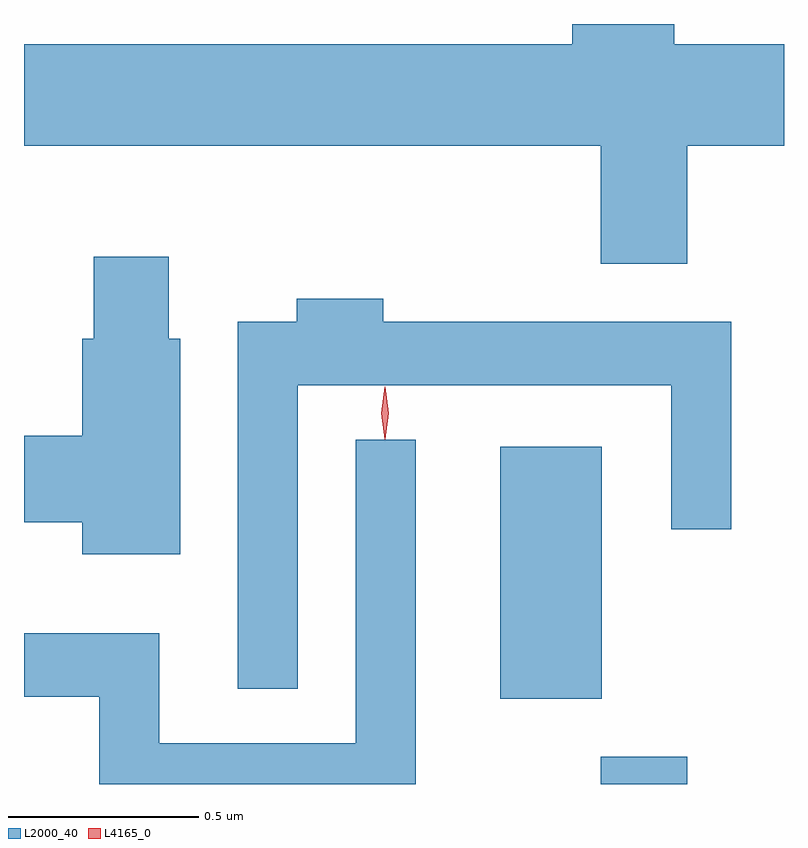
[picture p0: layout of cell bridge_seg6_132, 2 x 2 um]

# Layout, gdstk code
import gdstk
lib = gdstk.Library(unit=1e-6, precision=1e-09)
def R(c, l, rs):  # rectangles x0, y0, x1, y1
    for r in rs: c.add(gdstk.rectangle(r[:2], r[2:], *l))
def P(c, l, *ps):  # polygons
    for p in ps: c.add(gdstk.Polygon(p, *l))
L2000_40 = (2000, 40)
L4165_0 = (4165, 0)

bridge_seg6_132 = lib.new_cell('bridge_seg6_132')
R(bridge_seg6_132, L2000_40, [(1174.191,1617.177,1174.419,1617.249), (1173.926,1617.401,1174.194,1618.064)])
P(bridge_seg6_132, L2000_40, [(1174.419,1618.856),(1174.673,1618.856),(1174.673,1619.124),(1174.384,1619.124),(1174.384,1619.177),(1174.116,1619.177),(1174.116,1619.124),(1172.673,1619.124),(1172.673,1618.856),(1174.191,1618.856),(1174.191,1618.546),(1174.419,1618.546)],
  [(1173.084,1618.349),(1173.054,1618.349),(1173.054,1618.564),(1172.856,1618.564),(1172.856,1618.349),(1172.826,1618.349),(1172.826,1618.094),(1172.673,1618.094),(1172.673,1617.866),(1172.826,1617.866),(1172.826,1617.781),(1173.084,1617.781)],
  [(1173.394,1618.226),(1174.376,1618.226),(1174.376,1617.848),(1174.534,1617.848),(1174.534,1618.394),(1173.619,1618.394),(1173.619,1618.454),(1173.391,1618.454),(1173.391,1618.394),(1173.236,1618.394),(1173.236,1617.428),(1173.394,1617.428)],
  [(1173.704,1618.083),(1173.546,1618.083),(1173.546,1617.284),(1173.029,1617.284),(1173.029,1617.574),(1172.673,1617.574),(1172.673,1617.406),(1172.871,1617.406),(1172.871,1617.177),(1173.704,1617.177)])
P(bridge_seg6_132, L4165_0, [(1173.623,1618.083),(1173.622,1618.084),(1173.613,1618.153),(1173.622,1618.222),(1173.623,1618.223),(1173.623,1618.222),(1173.633,1618.153),(1173.623,1618.084)])

lib.write_gds('bridge_seg6_132.gds')
